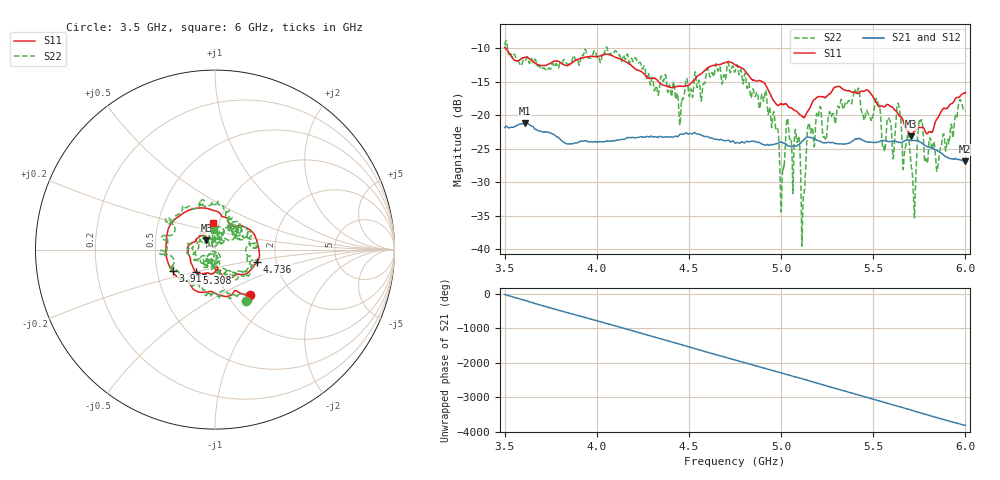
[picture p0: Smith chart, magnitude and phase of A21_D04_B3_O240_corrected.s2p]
! Created with skrf 1.9.0 (http://scikit-rf.org).
# Hz S RI R 50.0
!freq ReS11 ImS11 ReS21 ImS21 ReS12 ImS12 ReS22 ImS22
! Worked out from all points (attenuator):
!   1601 points, 3.5 GHz to 6 GHz, reference 50 ohm
!   highest |S21| = -21.22 dB at 3.611 GHz (marker M1); lowest = -26.9 dB at 5.998 GHz (marker M2)
!   lowest |S11| = -23.1 dB at 5.705 GHz (marker M3), VSWR 1.15, Z = 45.2 + j4.62 ohm
!   |S11| at or under -10 dB: 3.505 GHz to end of sweep
!   |S22| runs from -39.5 to -8.9 dB; largest |S21 - S12| = 0.001
!   S11 on the Smith chart (normalised r, x): 3.5 GHz: 1.26, -0.71; 3.917 GHz: 0.60, -0.16; 4.736 GHz: 1.60, -0.23; 5.308 GHz: 0.79, -0.21; 6 GHz: 0.94, +0.28
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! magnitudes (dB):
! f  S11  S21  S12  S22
! 3.5 GHz  -9.9  -21.8  -21.8  -9.6
! 3.611 GHz  -11.4  -21.2  -21.2  -11.8
! 3.917 GHz  -11.5  -23.9  -23.9  -11.0
! 4.334 GHz  -15.0  -23.3  -23.2  -17.0
! 4.736 GHz  -12.2  -23.8  -23.9  -12.7
! 4.75 GHz  -12.5  -24.1  -24.0  -13.5
! 4.912 GHz  -15.3  -24.4  -24.4  -16.6
! 5.005 GHz  -18.3  -24.0  -24.0  -30.4
! 5.034 GHz  -18.5  -24.5  -24.4  -20.5
! 5.088 GHz  -19.5  -24.5  -24.5  -24.0
! 5.119 GHz  -20.3  -23.8  -23.7  -33.1
! 5.147 GHz  -19.3  -23.2  -23.2  -21.5
! 5.167 GHz  -18.2  -23.4  -23.3  -21.9
! 5.308 GHz  -15.7  -24.3  -24.2  -18.6
! 5.584 GHz  -18.5  -23.9  -23.9  -20.4
! 5.638 GHz  -19.9  -24.0  -24.0  -18.4
! 5.705 GHz  -23.1  -23.8  -23.7  -27.2
! 5.723 GHz  -22.4  -23.7  -23.7  -35.3
! 5.756 GHz  -21.8  -24.0  -23.9  -21.0
! 5.848 GHz  -20.5  -25.3  -25.2  -28.0
! 5.998 GHz  -16.7  -26.9  -26.8  -19.3
! 6 GHz  -16.6  -26.9  -26.8  -19.4
